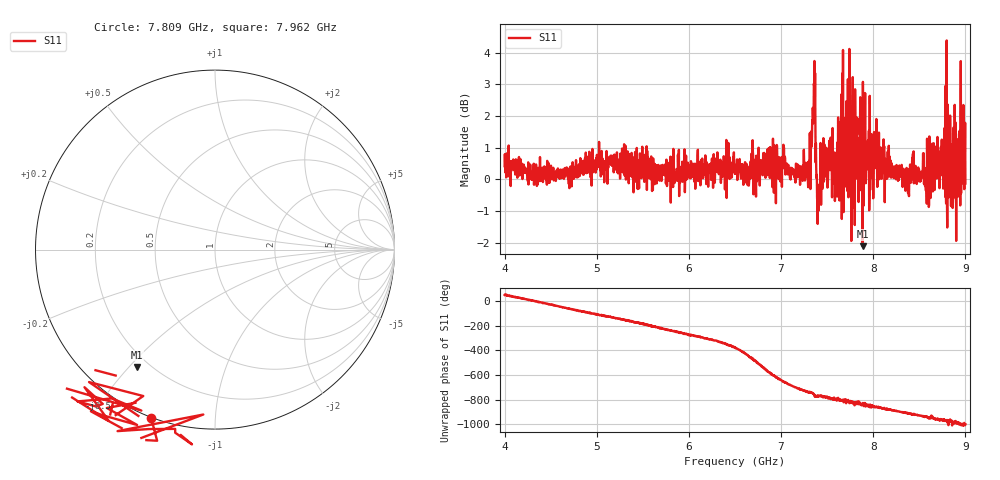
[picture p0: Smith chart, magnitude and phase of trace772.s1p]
! Created with skrf 1.8.0 (http://scikit-rf.org).
# Hz S RI R 50.0
!freq ReS11 ImS11
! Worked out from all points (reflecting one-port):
!   1601 points, 4 GHz to 9 GHz, reference 50 ohm
!   lowest |S11| = -2.1 dB at 7.884 GHz (marker M1), VSWR 8.28, Z = 7.74 - j26.3 ohm
!   phase of S11 starts at 49 deg and turns -1049 deg over the sweep
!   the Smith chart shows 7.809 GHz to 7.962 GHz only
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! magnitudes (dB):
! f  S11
! 4 GHz  0.4
! 4.625 GHz  0.1
! 5.25 GHz  0.5
! 5.875 GHz  0.2
! 6.5 GHz  0.2
! 6.725 GHz  0.0
! 6.875 GHz  0.4
! 7.125 GHz  0.3
! 7.294 GHz  -0.2
! 7.347 GHz  2.1
! 7.366 GHz  2.3
! 7.397 GHz  -1.4
! 7.409 GHz  -0.4
! 7.453 GHz  0.3
! 7.534 GHz  0.3
! 7.609 GHz  -0.5
! 7.669 GHz  1.7
! 7.75 GHz  0.5
! 7.775 GHz  2.2
! 7.8 GHz  -1.4
! 7.884 GHz  -2.1
! 7.928 GHz  0.8
! 8.375 GHz  -0.1
! 8.581 GHz  -0.8
! 8.809 GHz  2.4
! 8.919 GHz  -0.4
! 8.956 GHz  0.8
! 9 GHz  -0.1
